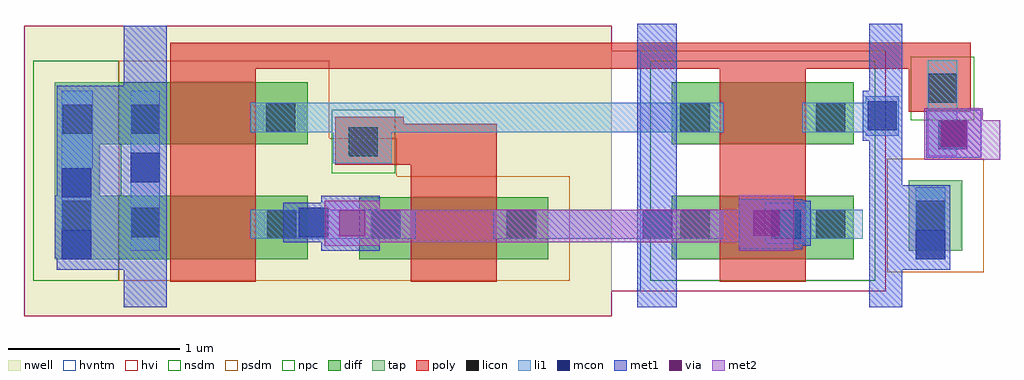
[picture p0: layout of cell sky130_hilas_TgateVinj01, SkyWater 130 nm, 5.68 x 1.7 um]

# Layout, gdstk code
import gdstk
lib = gdstk.Library(unit=1e-6, precision=1e-09)
def R(c, l, rs):  # rectangles x0, y0, x1, y1
    for r in rs: c.add(gdstk.rectangle(r[:2], r[2:], *l))
nwell = (64, 20)
diff = (65, 20)
tap = (65, 44)
poly = (66, 20)
licon = (66, 44)
li1 = (67, 20)
mcon = (67, 44)
met1 = (68, 20)
via = (68, 44)
met2 = (69, 20)
hvi = (75, 20)
nsdm = (93, 44)
psdm = (94, 20)
npc = (95, 20)
hvntm = (125, 20)

sky130_hilas_li2m1 = lib.new_cell('sky130_hilas_li2m1')
R(sky130_hilas_li2m1, li1, [(-0.08,-0.05,0.11,0.18)])
R(sky130_hilas_li2m1, mcon, [(-0.07,-0.02,0.1,0.15)])
R(sky130_hilas_li2m1, met1, [(-0.1,-0.08,0.13,0.21)])

sky130_hilas_tgatevinj01 = lib.new_cell('sky130_hilas_TgateVinj01')
R(sky130_hilas_tgatevinj01, nwell, [(-2.32,-0.45,1.1,1.24)])
R(sky130_hilas_tgatevinj01, diff, [(-1.77,-0.12,-0.67,0.25), (-0.37,-0.12,0.73,0.24), (1.45,-0.12,2.51,0.25), (-1.77,0.55,-0.67,0.91), (1.45,0.55,2.51,0.91)])
R(sky130_hilas_tgatevinj01, tap, [(-2.14,-0.12,-1.77,0.25), (2.83,-0.07,3.14,0.34), (-2.14,0.25,-1.88,0.55), (-2.14,0.55,-1.77,0.91)])
R(sky130_hilas_tgatevinj01, poly, [(-1.47,-0.25,-0.97,0.99), (-0.07,-0.25,0.43,0.43), (1.73,-0.25,2.23,0.99), (-0.51,0.43,0.43,0.67), (-0.51,0.67,-0.11,0.71), (2.83,0.74,3.19,0.99), (-1.47,0.99,3.19,1.14)])
R(sky130_hilas_tgatevinj01, licon, [(-0.905,0,-0.735,0.17), (-0.3,0,-0.13,0.17), (0.49,0,0.66,0.17), (1.5,0,1.67,0.17), (2.29,0,2.46,0.17), (-1.7,0.01,-1.53,0.18), (-2.1,0.05,-1.93,0.22), (2.87,0.05,3.04,0.22), (-0.43,0.48,-0.26,0.65), (-2.095,0.61,-1.925,0.78), (-1.7,0.61,-1.53,0.78), (-0.91,0.62,-0.74,0.79), (1.5,0.62,1.67,0.79), (2.29,0.62,2.46,0.79), (2.94,0.79,3.11,0.96)])
R(sky130_hilas_tgatevinj01, li1, [(-2.1,-0.12,-1.93,0.41), (2.87,-0.12,3.04,0.3), (-1.7,-0.07,-1.53,0.86), (1.99,-0.03,2.23,0), (-1,0,-0.04,0.17), (0.41,0,1.75,0.17), (1.99,0,2.56,0.17), (-0.72,0.17,-0.55,0.18), (1.99,0.17,2.23,0.21), (-2.1,0.41,-1.92,0.86), (-0.52,0.44,-0.18,0.62), (2.94,0.48,3.11,0.52), (2.94,0.52,3.17,0.69), (-1,0.62,1.75,0.79), (2.21,0.62,2.58,0.79), (2.94,0.69,3.11,1.04)])
R(sky130_hilas_tgatevinj01, mcon, [(-2.1,-0.12,-1.93,0.05), (2.87,-0.12,3.04,0.05), (1.28,0,1.45,0.17), (2.03,0,2.2,0.17), (-0.72,0.01,-0.55,0.18), (-2.1,0.24,-1.93,0.41), (-1.7,0.33,-1.53,0.5), (3,0.52,3.17,0.69)])
R(sky130_hilas_tgatevinj01, met1, [(-1.74,-0.4,-1.49,-0.18), (1.25,-0.4,1.48,1.25), (2.6,-0.4,2.79,-0.18), (-2.13,-0.18,-1.49,-0.11), (2.6,-0.18,3.07,0.31), (-2.14,-0.11,-1.49,0.25), (-0.59,-0.07,-0.25,-0.02), (1.84,-0.06,2.21,-0.04), (1.84,-0.04,2.26,0.22), (-0.81,-0.02,-0.25,0), (-0.81,0,-0.13,0.17), (-0.81,0.17,-0.25,0.21), (-0.59,0.21,-0.25,0.25), (1.84,0.22,2.21,0.23), (-2.13,0.25,-1.49,0.89), (2.6,0.31,2.79,1.25), (2.93,0.47,3.25,0.75), (-1.74,0.89,-1.49,1.24)])
R(sky130_hilas_tgatevinj01, via, [(-0.485,0.015,-0.335,0.165), (1.925,0.015,2.075,0.165), (3.015,0.535,3.165,0.685)])
R(sky130_hilas_tgatevinj01, met2, [(1.84,-0.07,2.16,-0.02), (-0.57,-0.04,-0.25,-0.02), (-0.57,-0.02,2.16,0.17), (-0.57,0.17,-0.25,0.22), (1.84,0.17,2.16,0.25), (2.92,0.46,3.36,0.69), (2.92,0.69,3.26,0.76)])
R(sky130_hilas_tgatevinj01, hvi, [(-2.32,-0.45,1.1,-0.305), (-2.32,-0.305,2.695,1.095), (-2.32,1.095,1.1,1.24)])
R(sky130_hilas_tgatevinj01, nsdm, [(-2.265,-0.245,-1.77,0.25), (1.325,-0.245,2.635,1.035), (-2.265,0.25,-1.755,0.55), (-2.265,0.55,-1.77,1.035)])
R(sky130_hilas_tgatevinj01, psdm, [(-1.77,-0.245,0.855,0.365), (2.705,-0.195,3.265,0.465), (-1.77,0.365,-0.15,0.585), (-1.77,0.585,-0.545,1.035)])
R(sky130_hilas_tgatevinj01, npc, [(-0.53,0.38,-0.16,0.75), (2.84,0.69,3.21,1.06)])
R(sky130_hilas_tgatevinj01, hvntm, [(1.265,-0.305,2.695,1.095)])
sky130_hilas_tgatevinj01.add(gdstk.Reference(sky130_hilas_li2m1, (2.66,0.65)))

lib.write_gds('sky130_hilas_TgateVinj01.gds')
